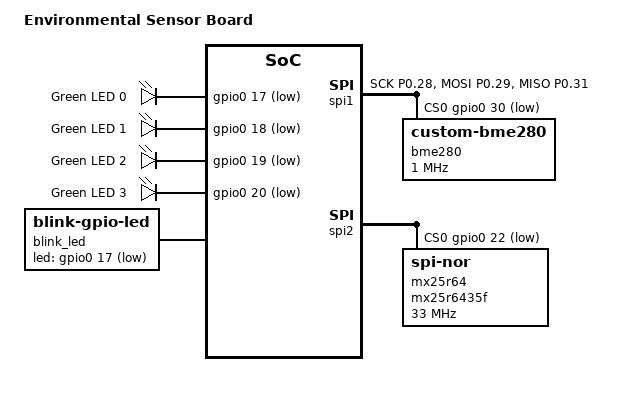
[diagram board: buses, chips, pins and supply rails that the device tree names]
/ {
	model = "Environmental Sensor Board";
	compatible = "awesometronics,env-sens-board";

    leds {
		compatible = "gpio-leds";
		led0: led_0 {
			gpios = <&gpio0 17 GPIO_ACTIVE_LOW>;
			label = "Green LED 0";
		};
		led1: led_1 {
			gpios = <&gpio0 18 GPIO_ACTIVE_LOW>;
			label = "Green LED 1";
		};
		led2: led_2 {
			gpios = <&gpio0 19 GPIO_ACTIVE_LOW>;
			label = "Green LED 2";
		};
		led3: led_3 {
			gpios = <&gpio0 20 GPIO_ACTIVE_LOW>;
			label = "Green LED 3";
		};
	};

	blink_led: blink-led {
		compatible = "blink-gpio-led";
		led-gpios = <&gpio0 17 GPIO_ACTIVE_LOW>;
		blink-period-ms = <1000>;
	};
};

&i2c0 {	status = "disabled";};
&spi0 {	status = "disabled";};
&i2c1 {	status = "disabled";};
	
&spi1 {
    compatible = "nordic,nrf-spi"; //using SPI as per ERRATA 58
	status = "okay";
	pinctrl-0 = <&spi1_default>;
	pinctrl-1 = <&spi1_sleep>;
	pinctrl-names = "default", "sleep";
	cs-gpios = <&gpio0 30 GPIO_ACTIVE_LOW>;
	
	zephyr,pm-device-runtime-auto;

	bme280: bme280@0 {
		compatible = "zephyr,custom-bme280";
		reg = <0>;
		spi-max-frequency = <1000000>; 

		zephyr,pm-device-runtime-auto;
	};
};

&spi2 {
    status = "okay";

    cs-gpios = <&gpio0 22 GPIO_ACTIVE_LOW>;

    mx25r64: mx25r6435f@0 {
        compatible = "jedec,spi-nor";
        reg = <0>;
        spi-max-frequency = <33000000>;
        jedec-id = [c2 28 17];
        sfdp-bfp = [
       	  e5 20 f1 ff  ff ff ff 03  44 eb 08 6b  08 3b 04 bb
          ee ff ff ff  ff ff 00 ff  ff ff 00 ff  0c 20 0f 52
          10 d8 00 ff  23 72 f5 00  82 ed 04 cc  44 83 68 44
          30 b0 30 b0  f7 c4 d5 5c  00 be 29 ff  f0 d0 ff ff
        ];
        size = <67108864>;
        has-dpd;
        t-enter-dpd = <10000>;
        t-exit-dpd = <5000>;
        status = "okay";
    };
};

&pinctrl {
	spi1_default: spi1_default {
		group1 {
				psels = <NRF_PSEL(SPIM_SCK, 0, 28)>,
						<NRF_PSEL(SPIM_MOSI, 0, 29)>,
						<NRF_PSEL(SPIM_MISO, 0, 31)>;
		};
	};

	spi1_sleep: spi1_sleep {
		group1 {
				psels = <NRF_PSEL(SPIM_SCK, 0, 28)>,
						<NRF_PSEL(SPIM_MOSI, 0, 29)>,
						<NRF_PSEL(SPIM_MISO, 0, 31)>;
				low-power-enable;
		};
	};

	spi2_default: spi2_default {
		group1 {
			psels = <NRF_PSEL(SPIM_SCK, 0, 25)>,
					<NRF_PSEL(SPIM_MOSI, 0, 23)>,
					<NRF_PSEL(SPIM_MISO, 0, 24)>;
		};
	};

	spi2_sleep: spi2_sleep {
		group1 {
			psels = <NRF_PSEL(SPIM_SCK, 0, 25)>,
					<NRF_PSEL(SPIM_MOSI, 0, 23)>,
					<NRF_PSEL(SPIM_MISO, 0, 24)>;
			low-power-enable;
		};
	};
};

/ {
    chosen {
        nordic,pm-ext-flash = &mx25r64;
    };
};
